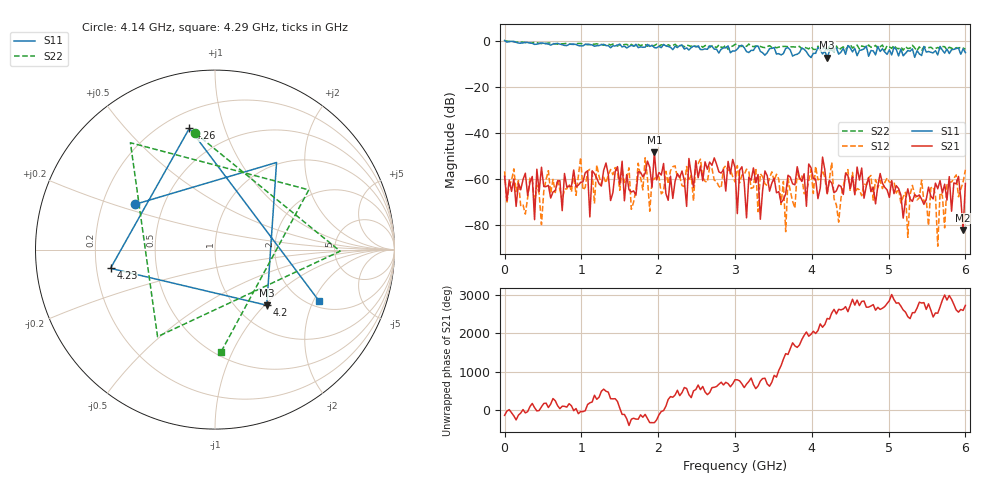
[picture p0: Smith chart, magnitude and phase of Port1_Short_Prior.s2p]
#  HZ  S  DB  R  50.0
! Rohde & Schwarz ZVL13 2Ports - Version 3.20 - 1303.6509k13 SN: 100953
! Date: 2024-10-21 06:04:29
! Data & Calibration Information:
! Trc1:S11(Cal Off) Trc4:S21(Cal Off) Trc2:S12(Cal Off) Trc3:S22(Cal Off)
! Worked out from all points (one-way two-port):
!   201 points, 5 kHz to 6 GHz, reference 50 ohm
!   highest |S21| = -48.40 dB at 1.95 GHz (marker M1); lowest = -82.0 dB at 5.97 GHz (marker M2)
!   lowest |S11| = -7.5 dB at 4.2 GHz (marker M3), VSWR 2.47, Z = 68.1 - j51.4 ohm
!   |S11| at or under -10 dB: nowhere
!   |S22| runs from -4.8 to -0.1 dB; largest |S21 - S12| = 0.0049
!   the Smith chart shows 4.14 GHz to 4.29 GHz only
!   S11 on the Smith chart (normalised r, x): 4.14 GHz: 0.34, +0.24; 4.2 GHz: 1.36, -1.03; 4.23 GHz: 0.26, -0.08; 4.26 GHz: 0.30, +0.77; 4.29 GHz: 2.26, -2.20
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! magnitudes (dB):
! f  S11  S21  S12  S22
! 5 kHz  0.0  -58.7  -56.6  -0.1
! 390 MHz  -1.6  -77.5  -70.8  -0.8
! 480 MHz  -1.0  -54.8  -79.6  -1.3
! 570 MHz  -1.5  -62.7  -56.3  -1.1
! 1.02 GHz  -2.3  -61.1  -64.7  -1.4
! 1.95 GHz  -3.1  -48.4  -59.9  -2.2
! 2.01 GHz  -2.5  -57.1  -59.0  -2.4
! 3 GHz  -4.5  -54.9  -61.2  -1.7
! 3.15 GHz  -4.8  -76.7  -55.6  -2.5
! 3.24 GHz  -4.3  -55.1  -63.6  -2.6
! 3.33 GHz  -4.7  -77.3  -57.7  -2.5
! 3.39 GHz  -6.3  -56.4  -61.9  -3.1
! 4.02 GHz  -5.5  -59.7  -66.2  -3.8
! 4.14 GHz  -5.8  -50.4  -56.2  -3.6
! 4.2 GHz  -7.5  -66.1  -66.8  -4.7
! 4.23 GHz  -4.6  -60.5  -59.8  -2.4
! 4.26 GHz  -3.2  -61.7  -52.7  -4.2
! 4.29 GHz  -3.8  -65.8  -68.6  -4.8
! 5.01 GHz  -4.0  -67.9  -61.3  -2.7
! 5.91 GHz  -3.2  -58.8  -67.6  -3.1
! 5.97 GHz  -3.6  -82.0  -61.3  -3.3
! 6 GHz  -5.2  -61.9  -55.9  -3.7
